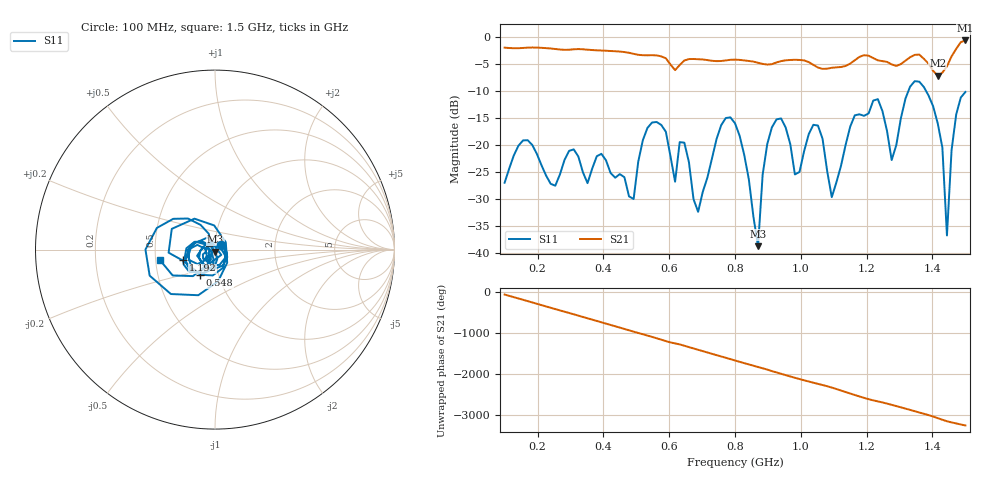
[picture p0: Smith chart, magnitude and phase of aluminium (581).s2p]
! NanoVNA-App
! Date: 2025-09-25 14:59:48
! Start: 100MHz Stop: 1,5GHz Points: 101
! S-Parameter data: F S11 S21 S12 S22
# Hz S RI R 50
!  Frequency  S11_Real  S11_Imag  S21_Real  S21_Imag  S12_Real  S12_Imag  S22_Real  S22_Imag
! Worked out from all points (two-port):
!   101 points, 100 MHz to 1.5 GHz, reference 50 ohm
!   highest |S21| = -0.59 dB at 1.5 GHz (marker M1); lowest = -7.1 dB at 1.416 GHz (marker M2)
!   |S21| within 3 dB of the highest: start of sweep to 578 MHz; 1.458 GHz to end of sweep (the widest 2 of 4)
!   lowest |S11| = -38.7 dB at 870 MHz (marker M3), VSWR 1.02, Z = 50.2 - j1.14 ohm
!   |S11| at or under -10 dB: start of sweep to 1.327 GHz; 1.381 GHz to end of sweep
!   S12 and S22 are empty: the file has one direction only
!   S11 on the Smith chart (normalised r, x): 100 MHz: 1.07, +0.06; 548 MHz: 0.82, -0.24; 1.192 GHz: 0.69, -0.08; 1.5 GHz: 0.53, -0.07
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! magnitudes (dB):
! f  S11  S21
! 100 MHz  -27.0  -1.9
! 156 MHz  -19.1  -2.0
! 338 MHz  -25.0  -2.2
! 492 MHz  -30.0  -3.1
! 548 MHz  -15.8  -3.3
! 576 MHz  -16.3  -3.5
! 646 MHz  -19.5  -4.3
! 688 MHz  -32.3  -4.1
! 800 MHz  -15.9  -4.1
! 870 MHz  -38.7  -4.7
! 912 MHz  -16.7  -5.0
! 982 MHz  -25.4  -4.2
! 1.038 GHz  -16.2  -5.1
! 1.094 GHz  -29.6  -5.7
! 1.192 GHz  -14.6  -3.3
! 1.234 GHz  -11.5  -4.3
! 1.276 GHz  -22.8  -5.0
! 1.346 GHz  -8.1  -3.3
! 1.416 GHz  -16.0  -7.1
! 1.444 GHz  -36.7  -5.4
! 1.458 GHz  -20.9  -3.5
! 1.5 GHz  -10.1  -0.6
